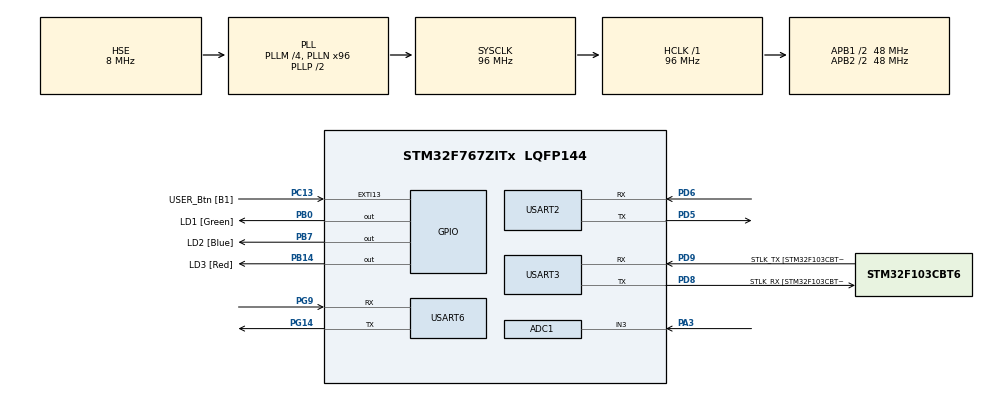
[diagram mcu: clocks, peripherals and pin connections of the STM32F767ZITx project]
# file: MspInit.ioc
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ADC1.Channel-0\#ChannelRegularConversion=ADC_CHANNEL_3
ADC1.Channel-3\#ChannelRegularConversion=ADC_CHANNEL_3
ADC1.Channel-4\#ChannelRegularConversion=ADC_CHANNEL_3
ADC1.Channel-5\#ChannelRegularConversion=ADC_CHANNEL_3
ADC1.Channel-6\#ChannelRegularConversion=ADC_CHANNEL_3
ADC1.ContinuousConvMode=ENABLE
ADC1.EOCSelection=ADC_EOC_SEQ_CONV
ADC1.NbrOfConversion=5
ADC1.NbrOfConversionFlag=1
ADC1.Rank-3\#ChannelRegularConversion=2
ADC1.Rank-4\#ChannelRegularConversion=3
ADC1.Rank-5\#ChannelRegularConversion=4
ADC1.Rank-6\#ChannelRegularConversion=5
ADC1.SamplingTime-0\#ChannelRegularConversion=ADC_SAMPLETIME_480CYCLES
ADC1.SamplingTime-3\#ChannelRegularConversion=ADC_SAMPLETIME_56CYCLES
ADC1.SamplingTime-4\#ChannelRegularConversion=ADC_SAMPLETIME_84CYCLES
ADC1.SamplingTime-5\#ChannelRegularConversion=ADC_SAMPLETIME_112CYCLES
ADC1.SamplingTime-6\#ChannelRegularConversion=ADC_SAMPLETIME_144CYCLES
ADC1.master=1
Dma.Request0=USART2_TX
Dma.USART2_TX.0.Direction=DMA_MEMORY_TO_PERIPH
Dma.USART2_TX.0.FIFOMode=DMA_FIFOMODE_DISABLE
Dma.USART2_TX.0.Instance=DMA1_Stream6
Dma.USART2_TX.0.MemDataAlignment=DMA_MDATAALIGN_BYTE
Dma.USART2_TX.0.MemInc=DMA_MINC_ENABLE
Dma.USART2_TX.0.Mode=DMA_NORMAL
Dma.USART2_TX.0.PeriphDataAlignment=DMA_PDATAALIGN_BYTE
Dma.USART2_TX.0.PeriphInc=DMA_PINC_DISABLE
Dma.USART2_TX.0.Priority=DMA_PRIORITY_LOW
Mcu.Family=STM32F7
Mcu.Name=STM32F767ZITx
Mcu.Package=LQFP144
NVIC.ADC_IRQn=true\:0\:0\:false\:false\:true\:true\:true
NVIC.DMA1_Stream6_IRQn=true\:0\:0\:false\:false\:true\:false\:true
NVIC.PriorityGroup=NVIC_PRIORITYGROUP_4
NVIC.USART2_IRQn=true\:0\:0\:false\:false\:true\:true\:true
NVIC.USART6_IRQn=true\:0\:0\:false\:false\:true\:true\:true
PA13.GPIO_Label=TMS
PA13.Mode=Serial_Wire
PA13.Signal=SYS_JTMS-SWDIO
PA14.GPIO_Label=TCK
PA14.Mode=Serial_Wire
PA14.Signal=SYS_JTCK-SWCLK
PA3.Signal=ADCx_IN3
PB0.GPIO_Label=LD1 [Green]
PB0.Signal=GPIO_Output
PB14.GPIO_Label=LD3 [Red]
PB14.Signal=GPIO_Output
PB3.GPIO_Label=SWO
PB3.Signal=SYS_JTDO-SWO
PB7.GPIO_Label=LD2 [Blue]
PB7.Signal=GPIO_Output
PC13.GPIO_Label=USER_Btn [B1]
PC13.Signal=GPXTI13
PC14/OSC32_IN.Mode=LSE-External-Oscillator
PC14/OSC32_IN.Signal=RCC_OSC32_IN
PC15/OSC32_OUT.Mode=LSE-External-Oscillator
PC15/OSC32_OUT.Signal=RCC_OSC32_OUT
PD5.Mode=Asynchronous
PD5.Signal=USART2_TX
PD6.Mode=Asynchronous
PD6.Signal=USART2_RX
PD8.GPIO_Label=STLK_RX [STM32F103CBT6_PA3]
PD8.Mode=Asynchronous
PD8.Signal=USART3_TX
PD9.GPIO_Label=STLK_TX [STM32F103CBT6_PA2]
PD9.Mode=Asynchronous
PD9.Signal=USART3_RX
PG14.Mode=Asynchronous
PG14.Signal=USART6_TX
PG9.Mode=Asynchronous
PG9.Signal=USART6_RX
PH0/OSC_IN.GPIO_Label=MCO [STM32F103CBT6_PA8]
PH0/OSC_IN.Mode=HSE-External-Clock-Source
PH0/OSC_IN.Signal=RCC_OSC_IN
PH1/OSC_OUT.Mode=HSE-External-Clock-Source
PH1/OSC_OUT.Signal=RCC_OSC_OUT
ProjectManager.HeapSize=0x200
ProjectManager.StackSize=0x400
ProjectManager.TargetToolchain=STM32CubeIDE
RCC.48MHZClocksFreq_Value=24000000
RCC.AHBFreq_Value=96000000
RCC.APB1CLKDivider=RCC_HCLK_DIV2
RCC.APB1Freq_Value=48000000
RCC.APB1TimFreq_Value=96000000
RCC.APB2CLKDivider=RCC_HCLK_DIV2
RCC.APB2Freq_Value=48000000
RCC.APB2TimFreq_Value=96000000
RCC.CortexFreq_Value=96000000
RCC.HCLKFreq_Value=96000000
RCC.HSE_VALUE=8000000
RCC.HSI_VALUE=16000000
RCC.PLLM=4
RCC.PLLMUL=RCC_PLL_MUL9
RCC.PLLN=96
RCC.PLLQ=4
RCC.PLLSourceVirtual=RCC_PLLSOURCE_HSE
RCC.PRESCALERUSB=RCC_USBCLKSOURCE_PLL_DIV1_5
RCC.SYSCLKFreq_VALUE=96000000
RCC.SYSCLKSource=RCC_SYSCLKSOURCE_PLLCLK
RCC.SYSCLKSourceVirtual=RCC_SYSCLKSOURCE_PLLCLK
RCC.USBFreq_Value=48000000
RCC.VCOOutputFreq_Value=192000000
SH.ADCx_IN3.0=ADC1_IN3,IN3
USART2.VirtualMode-Asynchronous=VM_ASYNC
USART3.VirtualMode-Asynchronous=VM_ASYNC
USART6.VirtualMode-Asynchronous=VM_ASYNC
board=NUCLEO-F767ZI

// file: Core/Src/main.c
/* USER CODE BEGIN Header */
/**
  ******************************************************************************
  * @file           : main.c
  * @brief          : Main program body
  ******************************************************************************
  * @attention
  *
  * Copyright (c) 2022 STMicroelectronics.
  * All rights reserved.
  *
  * This software is licensed under terms that can be found in the LICENSE file
  * in the root directory of this software component.
  * If no LICENSE file comes with this software, it is provided AS-IS.
  *
  ******************************************************************************
  */
/* USER CODE END Header */
#include "main.h"

ADC_HandleTypeDef hadc1;

UART_HandleTypeDef huart2;
UART_HandleTypeDef huart3;
UART_HandleTypeDef huart6;
DMA_HandleTypeDef hdma_usart2_tx;

/* USER CODE BEGIN PV */
uint8_t Buffer[25] = {0};
uint8_t Space[] = ".";
uint8_t StartMSG[] = "Iniciando Usart: \r\n";
uint8_t EndMSG[] = "Completo! \r\n";
uint8_t dma_buf[2000];
uint8_t dma_rec[2000];
volatile uint8_t toogle = 0;
/* USER CODE END PV */

void SystemClock_Config(void);
static void MX_GPIO_Init(void);
static void MX_USART3_UART_Init(void);
static void MX_ADC1_Init(void);
static void MX_DMA_Init(void);
static void MX_USART2_UART_Init(void);
static void MX_USART6_UART_Init(void);

int main(void)
{
  /* USER CODE BEGIN 1 */
	char msg1[] =  "Long boat holystone pirate log driver hulk nipperkin cog. " \
	                "Buccaneer me lass poop deck spyglass maroon jib spike. Come" \
	                "about maroon skysail Corsair bilge water Arr long clothes " \
	                "transom.\r\n";
	uint8_t i = 0, ret, timeout;
	uint8_t msg[20] = {'\0'};
	char d[3]={7,5,10};
	uint16_t raw;

  /* USER CODE END 1 */

  /* MCU Configuration--------------------------------------------------------*/

  /* Reset of all peripherals, Initializes the Flash interface and the Systick. */
  HAL_Init();

  /* Configure the system clock */
  SystemClock_Config();

  /* Initialize all configured peripherals */
  MX_GPIO_Init();
  MX_USART3_UART_Init();
  MX_ADC1_Init();
  MX_DMA_Init();
  MX_USART2_UART_Init();
  MX_USART6_UART_Init();
  /* USER CODE BEGIN 2 */
  //HAL_DMA_RegisterCallback(&hdma_usart3_tx, HAL_DMA_XFER_CPLT_CB_ID, &DMATransferComplete);

  HAL_UART_Transmit(&huart3, StartMSG, sizeof(StartMSG), 10000);
  HAL_Delay(1000);
  uint8_t k=0;
  for (uint16_t K=0; K<1998; K++)
  {
	  dma_buf[K]='x';
  }
  dma_buf[1998]='\r';
  dma_buf[1999]='\n';

  //HAL_UART_Receive_IT(&huart6, &dma_rec, 12);
  HAL_Delay(100);
  /*if (!HAL_I2C_IsDeviceReady(&hi2c1, 0xA0, 3, 5))
		HAL_UART_Transmit(&huart3, "Conectado:\r\n", sizeof("Conectado:\r\n"), 10000);
  else
	  HAL_UART_Transmit(&huart3, "No Conectado\r\n", sizeof("No Conectado\r\n"), 10000);*/
  //uint8_t h=0x55;
  //HAL_I2C_Mem_Write( &hi2c1, (0b1010000 << 1), 0x00, 0x20, &h, 1, 100);
  /* USER CODE END 2 */

  /* Infinite loop */
  while (1)
  {

    /* USER CODE BEGIN 3 */
	//HAL_GPIO_TogglePin(GPIOB, LD1_Pin);
	HAL_UART_Transmit_DMA(&huart2, dma_buf, 2000);
	//HAL_UART_Transmit(&huart2, EndMSG, sizeof(EndMSG), HAL_MAX_DELAY);
	HAL_Delay(500);
	k++;
	sprintf(msg, "%hu:", k);
	HAL_UART_Transmit(&huart3, msg, 4, 1000);

	/*HAL_ADC_Start(&hadc1);
	HAL_ADC_PollForConversion(&hadc1, HAL_MAX_DELAY);
	raw = HAL_ADC_GetValue(&hadc1);

	// Convert to string and print
	sprintf(msg, "%hu\r\n", raw);
	HAL_UART_Transmit(&huart3, (uint8_t*)msg, strlen(msg), HAL_MAX_DELAY);*/
	//HAL_GPIO_TogglePin(GPIOB, LD2_Pin);
	//HAL_GPIO_TogglePin(GPIOB, LD3_Pin);
	//sprintf(msg, "Holas valor\r\n");
	//HAL_UART_Transmit(&huart3, msg, sizeof(msg), 100);
	//HAL_Delay(200);
  }
  /* USER CODE END 3 */
}

void SystemClock_Config(void)
{
  RCC_OscInitTypeDef RCC_OscInitStruct = {0};
  RCC_ClkInitTypeDef RCC_ClkInitStruct = {0};

  /** Configure LSE Drive Capability
  */
  HAL_PWR_EnableBkUpAccess();
  /** Configure the main internal regulator output voltage
  */
  __HAL_RCC_PWR_CLK_ENABLE();
  __HAL_PWR_VOLTAGESCALING_CONFIG(PWR_REGULATOR_VOLTAGE_SCALE3);
  /** Initializes the RCC Oscillators according to the specified parameters
  * in the RCC_OscInitTypeDef structure.
  */
  RCC_OscInitStruct.OscillatorType = RCC_OSCILLATORTYPE_HSE;
  RCC_OscInitStruct.HSEState = RCC_HSE_BYPASS;
  RCC_OscInitStruct.PLL.PLLState = RCC_PLL_ON;
  RCC_OscInitStruct.PLL.PLLSource = RCC_PLLSOURCE_HSE;
  RCC_OscInitStruct.PLL.PLLM = 4;
  RCC_OscInitStruct.PLL.PLLN = 96;
  RCC_OscInitStruct.PLL.PLLP = RCC_PLLP_DIV2;
  RCC_OscInitStruct.PLL.PLLQ = 4;
  RCC_OscInitStruct.PLL.PLLR = 2;
  if (HAL_RCC_OscConfig(&RCC_OscInitStruct) != HAL_OK)
  {
    Error_Handler();
  }
  /** Activate the Over-Drive mode
  */
  if (HAL_PWREx_EnableOverDrive() != HAL_OK)
  {
    Error_Handler();
  }
  /** Initializes the CPU, AHB and APB buses clocks
  */
  RCC_ClkInitStruct.ClockType = RCC_CLOCKTYPE_HCLK|RCC_CLOCKTYPE_SYSCLK
                              |RCC_CLOCKTYPE_PCLK1|RCC_CLOCKTYPE_PCLK2;
  RCC_ClkInitStruct.SYSCLKSource = RCC_SYSCLKSOURCE_PLLCLK;
  RCC_ClkInitStruct.AHBCLKDivider = RCC_SYSCLK_DIV1;
  RCC_ClkInitStruct.APB1CLKDivider = RCC_HCLK_DIV2;
  RCC_ClkInitStruct.APB2CLKDivider = RCC_HCLK_DIV2;

  if (HAL_RCC_ClockConfig(&RCC_ClkInitStruct, FLASH_LATENCY_3) != HAL_OK)
  {
    Error_Handler();
  }
}

static void MX_ADC1_Init(void)
{

  ADC_ChannelConfTypeDef sConfig = {0};

  /** Configure the global features of the ADC (Clock, Resolution, Data Alignment and number of conversion)
  */
  hadc1.Instance = ADC1;
  hadc1.Init.ClockPrescaler = ADC_CLOCK_SYNC_PCLK_DIV2;
  hadc1.Init.Resolution = ADC_RESOLUTION_12B;
  hadc1.Init.ScanConvMode = ADC_SCAN_ENABLE;
  hadc1.Init.ContinuousConvMode = ENABLE;
  hadc1.Init.DiscontinuousConvMode = DISABLE;
  hadc1.Init.ExternalTrigConvEdge = ADC_EXTERNALTRIGCONVEDGE_NONE;
  hadc1.Init.ExternalTrigConv = ADC_SOFTWARE_START;
  hadc1.Init.DataAlign = ADC_DATAALIGN_RIGHT;
  hadc1.Init.NbrOfConversion = 5;
  hadc1.Init.DMAContinuousRequests = DISABLE;
  hadc1.Init.EOCSelection = ADC_EOC_SEQ_CONV;
  if (HAL_ADC_Init(&hadc1) != HAL_OK)
  {
    Error_Handler();
  }
  /** Configure for the selected ADC regular channel its corresponding rank in the sequencer and its sample time.
  */
  sConfig.Channel = ADC_CHANNEL_3;
  sConfig.Rank = ADC_REGULAR_RANK_1;
  sConfig.SamplingTime = ADC_SAMPLETIME_480CYCLES;
  if (HAL_ADC_ConfigChannel(&hadc1, &sConfig) != HAL_OK)
  {
    Error_Handler();
  }
  /** Configure for the selected ADC regular channel its corresponding rank in the sequencer and its sample time.
  */
  sConfig.Rank = ADC_REGULAR_RANK_2;
  sConfig.SamplingTime = ADC_SAMPLETIME_56CYCLES;
  if (HAL_ADC_ConfigChannel(&hadc1, &sConfig) != HAL_OK)
  {
    Error_Handler();
  }
  /** Configure for the selected ADC regular channel its corresponding rank in the sequencer and its sample time.
  */
  sConfig.Rank = ADC_REGULAR_RANK_3;
  sConfig.SamplingTime = ADC_SAMPLETIME_84CYCLES;
  if (HAL_ADC_ConfigChannel(&hadc1, &sConfig) != HAL_OK)
  {
    Error_Handler();
  }
  /** Configure for the selected ADC regular channel its corresponding rank in the sequencer and its sample time.
  */
  sConfig.Rank = ADC_REGULAR_RANK_4;
  sConfig.SamplingTime = ADC_SAMPLETIME_112CYCLES;
  if (HAL_ADC_ConfigChannel(&hadc1, &sConfig) != HAL_OK)
  {
    Error_Handler();
  }
  /** Configure for the selected ADC regular channel its corresponding rank in the sequencer and its sample time.
  */
  sConfig.Rank = ADC_REGULAR_RANK_5;
  sConfig.SamplingTime = ADC_SAMPLETIME_144CYCLES;
  if (HAL_ADC_ConfigChannel(&hadc1, &sConfig) != HAL_OK)
  {
    Error_Handler();
  }

}

static void MX_USART2_UART_Init(void)
{

  huart2.Instance = USART2;
  huart2.Init.BaudRate = 115200;
  huart2.Init.WordLength = UART_WORDLENGTH_8B;
  huart2.Init.StopBits = UART_STOPBITS_1;
  huart2.Init.Parity = UART_PARITY_NONE;
  huart2.Init.Mode = UART_MODE_TX_RX;
  huart2.Init.HwFlowCtl = UART_HWCONTROL_NONE;
  huart2.Init.OverSampling = UART_OVERSAMPLING_16;
  huart2.Init.OneBitSampling = UART_ONE_BIT_SAMPLE_DISABLE;
  huart2.AdvancedInit.AdvFeatureInit = UART_ADVFEATURE_NO_INIT;
  if (HAL_UART_Init(&huart2) != HAL_OK)
  {
    Error_Handler();
  }

}

static void MX_USART3_UART_Init(void)
{

  huart3.Instance = USART3;
  huart3.Init.BaudRate = 115200;
  huart3.Init.WordLength = UART_WORDLENGTH_8B;
  huart3.Init.StopBits = UART_STOPBITS_1;
  huart3.Init.Parity = UART_PARITY_NONE;
  huart3.Init.Mode = UART_MODE_TX_RX;
  huart3.Init.HwFlowCtl = UART_HWCONTROL_NONE;
  huart3.Init.OverSampling = UART_OVERSAMPLING_16;
  huart3.Init.OneBitSampling = UART_ONE_BIT_SAMPLE_DISABLE;
  huart3.AdvancedInit.AdvFeatureInit = UART_ADVFEATURE_NO_INIT;
  if (HAL_UART_Init(&huart3) != HAL_OK)
  {
    Error_Handler();
  }

}

static void MX_USART6_UART_Init(void)
{

  huart6.Instance = USART6;
  huart6.Init.BaudRate = 115200;
  huart6.Init.WordLength = UART_WORDLENGTH_8B;
  huart6.Init.StopBits = UART_STOPBITS_1;
  huart6.Init.Parity = UART_PARITY_NONE;
  huart6.Init.Mode = UART_MODE_TX_RX;
  huart6.Init.HwFlowCtl = UART_HWCONTROL_NONE;
  huart6.Init.OverSampling = UART_OVERSAMPLING_16;
  huart6.Init.OneBitSampling = UART_ONE_BIT_SAMPLE_DISABLE;
  huart6.AdvancedInit.AdvFeatureInit = UART_ADVFEATURE_NO_INIT;
  if (HAL_UART_Init(&huart6) != HAL_OK)
  {
    Error_Handler();
  }

}

static void MX_DMA_Init(void)
{

  /* DMA controller clock enable */
  __HAL_RCC_DMA1_CLK_ENABLE();

  /* DMA interrupt init */
  /* DMA1_Stream6_IRQn interrupt configuration */
  HAL_NVIC_SetPriority(DMA1_Stream6_IRQn, 0, 0);
  HAL_NVIC_EnableIRQ(DMA1_Stream6_IRQn);

}

static void MX_GPIO_Init(void)
{
  GPIO_InitTypeDef GPIO_InitStruct = {0};

  /* GPIO Ports Clock Enable */
  __HAL_RCC_GPIOC_CLK_ENABLE();
  __HAL_RCC_GPIOH_CLK_ENABLE();
  __HAL_RCC_GPIOA_CLK_ENABLE();
  __HAL_RCC_GPIOB_CLK_ENABLE();
  __HAL_RCC_GPIOD_CLK_ENABLE();
  __HAL_RCC_GPIOG_CLK_ENABLE();

  /*Configure GPIO pin Output Level */
  HAL_GPIO_WritePin(GPIOB, LD1_Pin|LD3_Pin|LD2_Pin, GPIO_PIN_RESET);

  /*Configure GPIO pin : USER_Btn_Pin */
  GPIO_InitStruct.Pin = USER_Btn_Pin;
  GPIO_InitStruct.Mode = GPIO_MODE_IT_RISING;
  GPIO_InitStruct.Pull = GPIO_NOPULL;
  HAL_GPIO_Init(USER_Btn_GPIO_Port, &GPIO_InitStruct);

  /*Configure GPIO pins : LD1_Pin LD3_Pin LD2_Pin */
  GPIO_InitStruct.Pin = LD1_Pin|LD3_Pin|LD2_Pin;
  GPIO_InitStruct.Mode = GPIO_MODE_OUTPUT_PP;
  GPIO_InitStruct.Pull = GPIO_NOPULL;
  GPIO_InitStruct.Speed = GPIO_SPEED_FREQ_LOW;
  HAL_GPIO_Init(GPIOB, &GPIO_InitStruct);

}

/* USER CODE BEGIN 4 */
void HAL_UART_TxCpltCallback(UART_HandleTypeDef *huart)
{
  /* Prevent unused argument(s) compilation warning */
	//HAL_GPIO_TogglePin(GPIOB, LD2_Pin);
	uint16_t i=0;
	toogle = !toogle;
	for (i=1000; i<1998; i++)
	{
		if (toogle)
			dma_buf[i]='x';
		else
			dma_buf[i]='y';
	}
	dma_buf[1998]='\r';
	dma_buf[1999]='\n';
}

void HAL_UART_TxHalfCpltCallback(UART_HandleTypeDef *huart)
{
  /* Prevent unused argument(s) compilation warning */
	//HAL_GPIO_TogglePin(GPIOB, LD1_Pin);
	uint16_t i;
	for (i=0; i<1000; i++)
	{
		if (toogle)
			dma_buf[i]='z';
		else
			dma_buf[i]='w';
	}
}

void HAL_UART_RxCpltCallback(UART_HandleTypeDef *huart)
{
  /* Prevent unused argument(s) compilation warning */
	if (huart->Instance == USART6)
		{
			HAL_GPIO_TogglePin(GPIOB, LD2_Pin);
			HAL_UART_Receive_IT(&huart6, &dma_rec, 12);
			HAL_UART_Transmit(&huart3, dma_rec, 12, HAL_MAX_DELAY);
		}

	//HAL_UART_Transmit_IT(&huart3, &dma_rec, 2000);
}

/**
  * @brief  Rx Half Transfer completed callback.
  * @param  huart UART handle.
  * @retval None
  */
void HAL_UART_RxHalfCpltCallback(UART_HandleTypeDef *huart)
{
  /* Prevent unused argument(s) compilation warning */

}
/* USER CODE END 4 */

void Error_Handler(void)
{
  __disable_irq();
  while (1)
  {
  }
}
